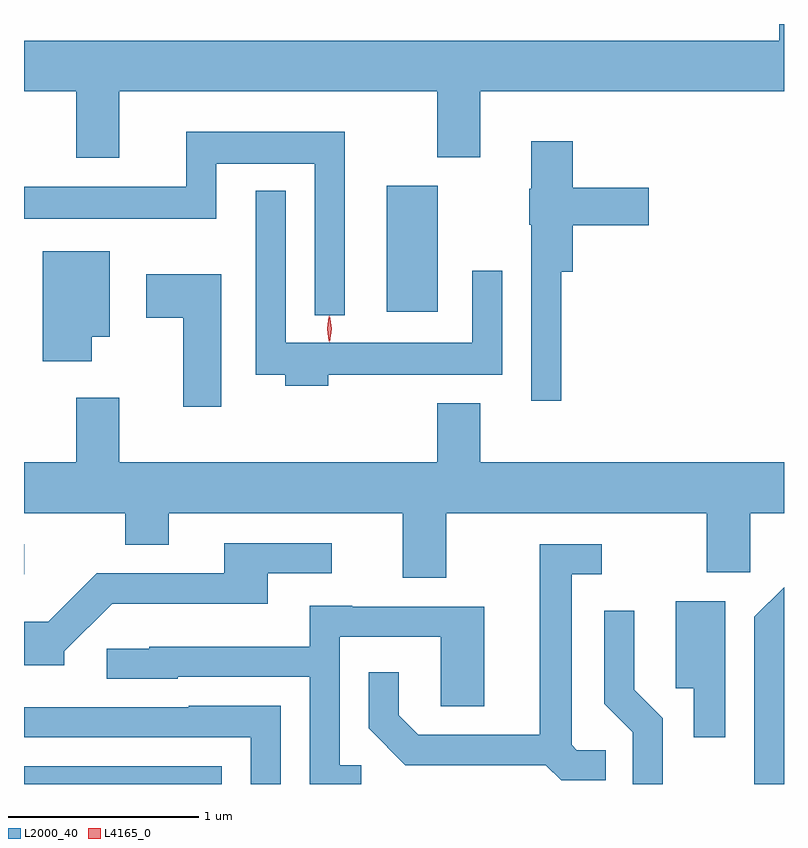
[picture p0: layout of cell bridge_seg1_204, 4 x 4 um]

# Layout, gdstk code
import gdstk
lib = gdstk.Library(unit=1e-6, precision=1e-09)
def R(c, l, rs):  # rectangles x0, y0, x1, y1
    for r in rs: c.add(gdstk.rectangle(r[:2], r[2:], *l))
def P(c, l, *ps):  # polygons
    for p in ps: c.add(gdstk.Polygon(p, *l))
L2000_40 = (2000, 40)
L4165_0 = (4165, 0)

bridge_seg1_204 = lib.new_cell('bridge_seg1_204')
R(bridge_seg1_204, L2000_40, [(775.747,955.871,776.789,955.964), (775.747,956.976,775.748,957.134), (777.656,958.356,777.924,959.019)])
P(bridge_seg1_204, L2000_40, [(776.249,959.516),(777.921,959.516),(777.921,959.171),(778.149,959.171),(778.149,959.516),(779.747,959.516),(779.747,959.871),(779.721,959.871),(779.721,959.784),(775.747,959.784),(775.747,959.516),(776.021,959.516),(776.021,959.166),(776.249,959.166)],
  [(777.434,959.304),(776.601,959.304),(776.601,959.014),(775.747,959.014),(775.747,958.846),(776.759,958.846),(776.759,959.136),(777.276,959.136),(777.276,958.338),(777.434,958.338)],
  [(778.574,958.566),(778.634,958.566),(778.634,958.811),(779.034,958.811),(779.034,959.009),(778.634,959.009),(778.634,959.254),(778.416,959.254),(778.416,959.005),(778.406,959.005),(778.406,958.815),(778.416,958.815),(778.416,957.888),(778.574,957.888)],
  [(777.349,958.026),(778.264,958.026),(778.264,958.573),(778.106,958.573),(778.106,958.194),(777.124,958.194),(777.124,958.993),(776.966,958.993),(776.966,958.026),(777.121,958.026),(777.121,957.966),(777.349,957.966)],
  [(776.104,958.226),(776.199,958.226),(776.199,958.674),(775.846,958.674),(775.846,958.096),(776.104,958.096)],
  [(776.784,958.554),(776.391,958.554),(776.391,958.326),(776.586,958.326),(776.586,957.856),(776.784,957.856)],
  [(777.969,957.296),(779.341,957.296),(779.341,956.986),(779.569,956.986),(779.569,957.296),(779.747,957.296),(779.747,957.564),(778.149,957.564),(778.149,957.874),(777.921,957.874),(777.921,957.564),(776.249,957.564),(776.249,957.904),(776.021,957.904),(776.021,957.564),(775.747,957.564),(775.747,957.296),(776.281,957.296),(776.281,957.131),(776.509,957.131),(776.509,957.296),(777.741,957.296),(777.741,956.956),(777.969,956.956)],
  [(775.959,956.569),(776.212,956.821),(777.029,956.821),(777.029,956.981),(777.368,956.981),(777.368,957.139),(776.801,957.139),(776.801,956.979),(776.129,956.979),(775.874,956.724),(775.747,956.724),(775.747,956.496),(775.959,956.496)],
  [(778.808,956.049),(778.657,956.049),(778.629,956.077),(778.629,956.976),(778.788,956.976),(778.788,957.134),(778.461,957.134),(778.461,956.129),(777.822,956.129),(777.719,956.232),(777.719,956.458),(777.561,956.458),(777.561,956.164),(777.754,955.971),(778.494,955.971),(778.574,955.891),(778.808,955.891)],
  [(779.747,956.907),(779.591,956.752),(779.591,955.871),(779.747,955.871)],
  [(779.439,956.834),(779.176,956.834),(779.176,956.376),(779.271,956.376),(779.271,956.118),(779.439,956.118)],
  [(777.523,955.969),(777.409,955.969),(777.409,956.646),(777.941,956.646),(777.941,956.281),(778.169,956.281),(778.169,956.804),(777.475,956.804),(777.475,956.809),(777.251,956.809),(777.251,956.594),(776.405,956.594),(776.405,956.584),(776.183,956.584),(776.183,956.426),(776.555,956.426),(776.555,956.436),(777.251,956.436),(777.251,955.871),(777.523,955.871)],
  [(779.109,956.217),(778.959,956.367),(778.959,956.783),(778.801,956.783),(778.801,956.294),(778.951,956.144),(778.951,955.871),(779.109,955.871)],
  [(777.099,956.284),(776.615,956.284),(776.615,956.274),(775.747,956.274),(775.747,956.116),(776.941,956.116),(776.941,955.871),(777.099,955.871)])
P(bridge_seg1_204, L4165_0, [(777.351,958.2),(777.342,958.266),(777.351,958.333),(777.352,958.333),(777.352,958.333),(777.362,958.266),(777.352,958.2),(777.352,958.2)],
  [(777.355,958.197),(777.346,958.267),(777.355,958.336),(777.356,958.336),(777.356,958.336),(777.366,958.267),(777.356,958.197),(777.356,958.197)])

lib.write_gds('bridge_seg1_204.gds')
